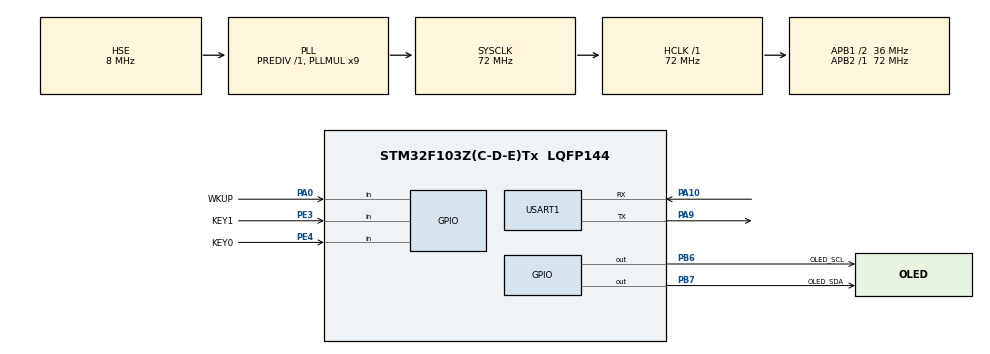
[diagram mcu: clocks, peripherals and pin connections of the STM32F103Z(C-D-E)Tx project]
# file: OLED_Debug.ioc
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Mcu.Family=STM32F1
Mcu.Name=STM32F103Z(C-D-E)Tx
Mcu.Package=LQFP144
NVIC.PriorityGroup=NVIC_PRIORITYGROUP_4
OSC_IN.Mode=HSE-External-Oscillator
OSC_IN.Signal=RCC_OSC_IN
OSC_OUT.Mode=HSE-External-Oscillator
OSC_OUT.Signal=RCC_OSC_OUT
PA0-WKUP.GPIO_Label=WKUP
PA0-WKUP.GPIO_PuPd=GPIO_PULLDOWN
PA0-WKUP.Signal=GPIO_Input
PA10.Mode=Asynchronous
PA10.Signal=USART1_RX
PA13.Mode=Serial_Wire
PA13.Signal=SYS_JTMS-SWDIO
PA14.Mode=Serial_Wire
PA14.Signal=SYS_JTCK-SWCLK
PA9.Mode=Asynchronous
PA9.Signal=USART1_TX
PB6.GPIO_Label=OLED_SCL
PB6.Signal=GPIO_Output
PB7.GPIO_Label=OLED_SDA
PB7.Signal=GPIO_Output
PE3.GPIO_Label=KEY1
PE3.GPIO_PuPd=GPIO_PULLUP
PE3.Signal=GPIO_Input
PE4.GPIO_Label=KEY0
PE4.GPIO_PuPd=GPIO_PULLUP
PE4.Signal=GPIO_Input
ProjectManager.HeapSize=0x200
ProjectManager.StackSize=0x400
ProjectManager.TargetToolchain=MDK-ARM V5
RCC.AHBFreq_Value=72000000
RCC.APB1CLKDivider=RCC_HCLK_DIV2
RCC.APB1Freq_Value=36000000
RCC.APB1TimFreq_Value=72000000
RCC.APB2Freq_Value=72000000
RCC.APB2TimFreq_Value=72000000
RCC.HCLKFreq_Value=72000000
RCC.PLLMUL=RCC_PLL_MUL9
RCC.PLLSourceVirtual=RCC_PLLSOURCE_HSE
RCC.SYSCLKFreq_VALUE=72000000
RCC.SYSCLKSource=RCC_SYSCLKSOURCE_PLLCLK
RCC.USBFreq_Value=72000000
USART1.VirtualMode=VM_ASYNC
board=custom

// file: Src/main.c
/* USER CODE BEGIN Header */
/**
  ******************************************************************************
  * @file           : main.c
  * @brief          : Main program body
  ******************************************************************************
  ** This notice applies to any and all portions of this file
  * that are not between comment pairs USER CODE BEGIN and
  * USER CODE END. Other portions of this file, whether
  * inserted by the user or by software development tools
  * are owned by their respective copyright owners.
  *
  * COPYRIGHT(c) 2020 STMicroelectronics
  *
  * Redistribution and use in source and binary forms, with or without modification,
  * are permitted provided that the following conditions are met:
  *   1. Redistributions of source code must retain the above copyright notice,
  *      this list of conditions and the following disclaimer.
  *   2. Redistributions in binary form must reproduce the above copyright notice,
  *      this list of conditions and the following disclaimer in the documentation
  *      and/or other materials provided with the distribution.
  *   3. Neither the name of STMicroelectronics nor the names of its contributors
  *      may be used to endorse or promote products derived from this software
  *      without specific prior written permission.
  *
  * THIS SOFTWARE IS PROVIDED BY THE COPYRIGHT HOLDERS AND CONTRIBUTORS "AS IS"
  * AND ANY EXPRESS OR IMPLIED WARRANTIES, INCLUDING, BUT NOT LIMITED TO, THE
  * IMPLIED WARRANTIES OF MERCHANTABILITY AND FITNESS FOR A PARTICULAR PURPOSE ARE
  * DISCLAIMED. IN NO EVENT SHALL THE COPYRIGHT HOLDER OR CONTRIBUTORS BE LIABLE
  * FOR ANY DIRECT, INDIRECT, INCIDENTAL, SPECIAL, EXEMPLARY, OR CONSEQUENTIAL
  * DAMAGES (INCLUDING, BUT NOT LIMITED TO, PROCUREMENT OF SUBSTITUTE GOODS OR
  * SERVICES; LOSS OF USE, DATA, OR PROFITS; OR BUSINESS INTERRUPTION) HOWEVER
  * CAUSED AND ON ANY THEORY OF LIABILITY, WHETHER IN CONTRACT, STRICT LIABILITY,
  * OR TORT (INCLUDING NEGLIGENCE OR OTHERWISE) ARISING IN ANY WAY OUT OF THE USE
  * OF THIS SOFTWARE, EVEN IF ADVISED OF THE POSSIBILITY OF SUCH DAMAGE.
  *
  ******************************************************************************
  */
/* USER CODE END Header */

#include "main.h"
#include "usart.h"
#include "gpio.h"

/* USER CODE BEGIN Includes */
#include "oledkey.h"
#include "oled.h"
//#include "bmp.h"
/* USER CODE END Includes */

/* USER CODE BEGIN PTD */
extern key_table code_table[30];
extern uint8_t func_index;//��������
extern void (*current_operation_index)(void);//������������
/* USER CODE END PTD */

void SystemClock_Config(void);

/* USER CODE BEGIN 0 */
int fputc(int ch,FILE *p)
{
	while(!(USART1->SR & (1<<7)));

	USART1->DR = ch;

	return ch;
}
/* USER CODE END 0 */

int main(void)
{

  /* MCU Configuration--------------------------------------------------------*/

  /* Reset of all peripherals, Initializes the Flash interface and the Systick. */
  HAL_Init();

  /* Configure the system clock */
  SystemClock_Config();

  /* Initialize all configured peripherals */
  MX_GPIO_Init();
  MX_USART1_UART_Init();
  /* USER CODE BEGIN 2 */
	OLED_Init();			//???OLED
  /* USER CODE END 2 */

  /* Infinite loop */
  while (1)
  {

    /* USER CODE BEGIN 3 */

//		switch(ReadKey(0))
//		{
//			case 1:
//				func_index=code_table[func_index].up;
//				current_operation_index=code_table[func_index].current_operation;
//				(*current_operation_index)();
//				printf("key1\r\n");
//			break;
//			case 2:
//				func_index=code_table[func_index].down;
//				current_operation_index=code_table[func_index].current_operation;
//				(*current_operation_index)();
//				printf("key0\r\n");
//			break;
//		}

		switch(KeyFunction())
		{
			case 1:
				func_index=code_table[func_index].up;
				current_operation_index=code_table[func_index].current_operation;
				(*current_operation_index)();
				printf("key1\r\n");
			break;
			case 2:
				func_index=code_table[func_index].down;
				current_operation_index=code_table[func_index].current_operation;
				(*current_operation_index)();
				printf("key0\r\n");
			break;
		}

  }
  /* USER CODE END 3 */
}

void SystemClock_Config(void)
{
  RCC_OscInitTypeDef RCC_OscInitStruct = {0};
  RCC_ClkInitTypeDef RCC_ClkInitStruct = {0};

  /**Initializes the CPU, AHB and APB busses clocks
  */
  RCC_OscInitStruct.OscillatorType = RCC_OSCILLATORTYPE_HSE;
  RCC_OscInitStruct.HSEState = RCC_HSE_ON;
  RCC_OscInitStruct.HSEPredivValue = RCC_HSE_PREDIV_DIV1;
  RCC_OscInitStruct.HSIState = RCC_HSI_ON;
  RCC_OscInitStruct.PLL.PLLState = RCC_PLL_ON;
  RCC_OscInitStruct.PLL.PLLSource = RCC_PLLSOURCE_HSE;
  RCC_OscInitStruct.PLL.PLLMUL = RCC_PLL_MUL9;
  if (HAL_RCC_OscConfig(&RCC_OscInitStruct) != HAL_OK)
  {
    Error_Handler();
  }
  /**Initializes the CPU, AHB and APB busses clocks
  */
  RCC_ClkInitStruct.ClockType = RCC_CLOCKTYPE_HCLK|RCC_CLOCKTYPE_SYSCLK
                              |RCC_CLOCKTYPE_PCLK1|RCC_CLOCKTYPE_PCLK2;
  RCC_ClkInitStruct.SYSCLKSource = RCC_SYSCLKSOURCE_PLLCLK;
  RCC_ClkInitStruct.AHBCLKDivider = RCC_SYSCLK_DIV1;
  RCC_ClkInitStruct.APB1CLKDivider = RCC_HCLK_DIV2;
  RCC_ClkInitStruct.APB2CLKDivider = RCC_HCLK_DIV1;

  if (HAL_RCC_ClockConfig(&RCC_ClkInitStruct, FLASH_LATENCY_2) != HAL_OK)
  {
    Error_Handler();
  }
}

void Error_Handler(void)
{
}

/************************ (C) COPYRIGHT STMicroelectronics *****END OF FILE****/
